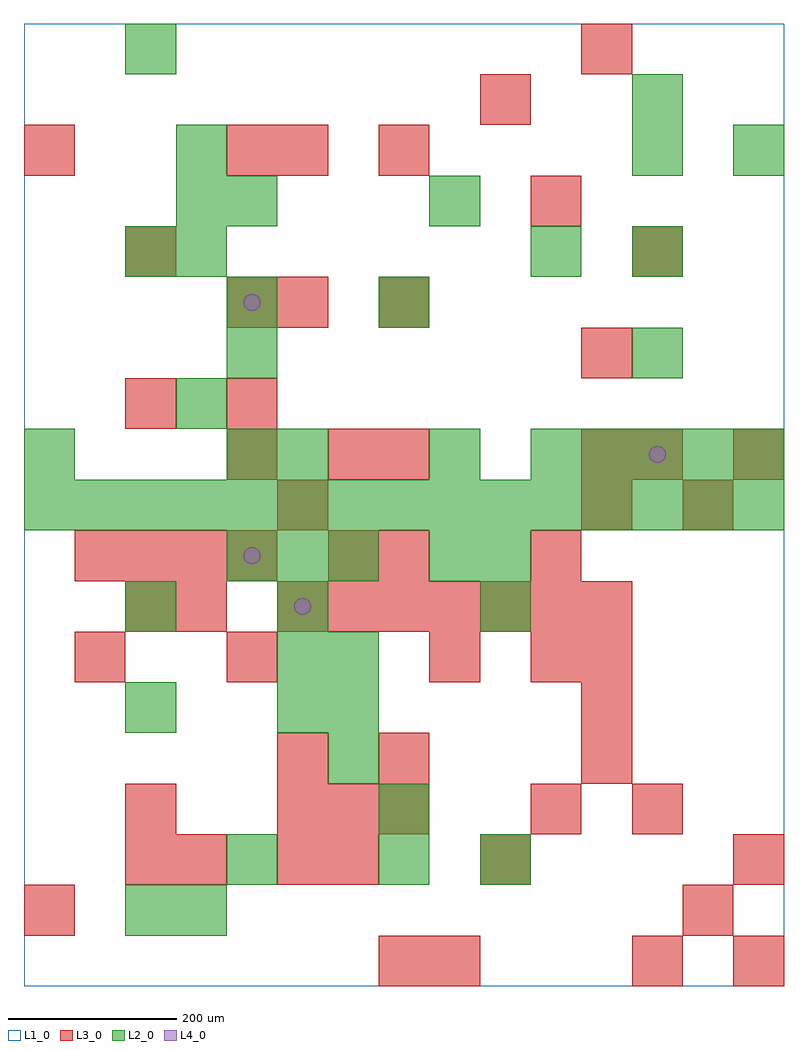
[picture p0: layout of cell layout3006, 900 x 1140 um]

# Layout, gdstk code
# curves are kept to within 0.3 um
import gdstk
lib = gdstk.Library(unit=1e-6, precision=1e-09)
def R(c, l, rs):  # rectangles x0, y0, x1, y1
    for r in rs: c.add(gdstk.rectangle(r[:2], r[2:], *l))
def A(c, l, x, y, w, h, nx, ny, dx, dy):  # array of equal rectangles
    R(c, l, [(x+i*dx, y+j*dy, x+i*dx+w, y+j*dy+h) for i in range(nx) for j in range(ny)])
def P(c, l, *ps):  # polygons
    for p in ps: c.add(gdstk.Polygon(p, *l))
L1_0 = (1, 0)
L2_0 = (2, 0)
L3_0 = (3, 0)
L4_0 = (4, 0)

layout3006 = lib.new_cell('layout3006')
R(layout3006, L1_0, [(0,0,900,1140)])
A(layout3006, L2_0, 360, 240, 60, 60, 1, 3, 0, 60)
A(layout3006, L2_0, 300, 300, 60, 60, 1, 3, 0, 60)
A(layout3006, L2_0, 240, 480, 60, 60, 3, 1, 60, 0)
A(layout3006, L2_0, 0, 540, 60, 60, 15, 1, 60, 0)
A(layout3006, L2_0, 600, 600, 60, 60, 5, 1, 60, 0)
A(layout3006, L2_0, 720, 720, 60, 60, 1, 3, 0, 120)
A(layout3006, L2_0, 180, 840, 60, 60, 1, 3, 0, 60)
R(layout3006, L2_0, [(120,60,180,120), (180,60,240,120), (240,120,300,180), (420,120,480,180), (540,120,600,180), (420,180,480,240), (120,300,180,360), (120,420,180,480), (540,420,600,480), (480,480,540,540), (540,480,600,540), (0,600,60,660), (240,600,300,660), (300,600,360,660), (480,600,540,660), (180,660,240,720), (240,720,300,780), (240,780,300,840), (420,780,480,840), (120,840,180,900), (600,840,660,900), (240,900,300,960), (480,900,540,960), (840,960,900,1020), (720,1020,780,1080), (120,1080,180,1140)])
A(layout3006, L3_0, 420, 0, 60, 60, 1, 3, 0, 240)
A(layout3006, L3_0, 120, 180, 60, 60, 1, 3, 0, 240)
A(layout3006, L3_0, 300, 180, 60, 60, 3, 1, 60, 0)
A(layout3006, L3_0, 660, 240, 60, 60, 1, 3, 0, 60)
A(layout3006, L3_0, 300, 420, 60, 60, 7, 1, 60, 0)
A(layout3006, L3_0, 60, 480, 60, 60, 4, 1, 60, 0)
A(layout3006, L3_0, 420, 600, 60, 60, 1, 3, 0, 180)
R(layout3006, L3_0, [(480,0,540,60), (720,0,780,60), (840,0,900,60), (0,60,60,120), (780,60,840,120), (120,120,180,180), (180,120,240,180), (300,120,360,180), (360,120,420,180), (540,120,600,180), (840,120,900,180), (600,180,660,240), (720,180,780,240), (300,240,360,300), (60,360,120,420), (240,360,300,420), (480,360,540,420), (600,360,660,420), (180,420,240,480), (360,480,420,540), (600,480,660,540), (300,540,360,600), (660,540,720,600), (780,540,840,600), (240,600,300,660), (360,600,420,660), (660,600,720,660), (720,600,780,660), (840,600,900,660), (240,660,300,720), (660,720,720,780), (240,780,300,840), (300,780,360,840), (120,840,180,900), (720,840,780,900), (600,900,660,960), (0,960,60,1020), (240,960,300,1020), (300,960,360,1020), (540,1020,600,1080), (660,1080,720,1140)])
P(layout3006, L4_0, [(280,510),(279.239,513.827),(277.071,517.071),(273.827,519.239),(270,520),(266.173,519.239),(262.929,517.071),(260.761,513.827),(260,510),(260.761,506.173),(262.929,502.929),(266.173,500.761),(270,500),(273.827,500.761),(277.071,502.929),(279.239,506.173)],
  [(280,810),(279.239,813.827),(277.071,817.071),(273.827,819.239),(270,820),(266.173,819.239),(262.929,817.071),(260.761,813.827),(260,810),(260.761,806.173),(262.929,802.929),(266.173,800.761),(270,800),(273.827,800.761),(277.071,802.929),(279.239,806.173)],
  [(340,450),(339.239,453.827),(337.071,457.071),(333.827,459.239),(330,460),(326.173,459.239),(322.929,457.071),(320.761,453.827),(320,450),(320.761,446.173),(322.929,442.929),(326.173,440.761),(330,440),(333.827,440.761),(337.071,442.929),(339.239,446.173)],
  [(760,630),(759.239,633.827),(757.071,637.071),(753.827,639.239),(750,640),(746.173,639.239),(742.929,637.071),(740.761,633.827),(740,630),(740.761,626.173),(742.929,622.929),(746.173,620.761),(750,620),(753.827,620.761),(757.071,622.929),(759.239,626.173)])

lib.write_gds('layout3006.gds')
